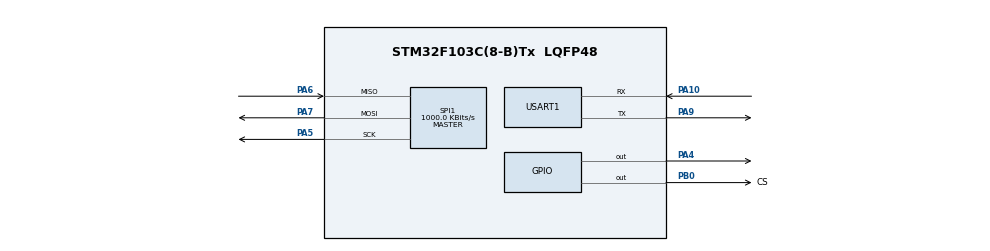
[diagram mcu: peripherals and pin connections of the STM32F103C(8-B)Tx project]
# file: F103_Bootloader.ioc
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Mcu.Family=STM32F1
Mcu.Name=STM32F103C(8-B)Tx
Mcu.Package=LQFP48
NVIC.PriorityGroup=NVIC_PRIORITYGROUP_4
PA10.Mode=Asynchronous
PA10.Signal=USART1_RX
PA13.Mode=Serial_Wire
PA13.Signal=SYS_JTMS-SWDIO
PA14.Mode=Serial_Wire
PA14.Signal=SYS_JTCK-SWCLK
PA4.Signal=GPIO_Output
PA5.Mode=Full_Duplex_Master
PA5.Signal=SPI1_SCK
PA6.Mode=Full_Duplex_Master
PA6.Signal=SPI1_MISO
PA7.Mode=Full_Duplex_Master
PA7.Signal=SPI1_MOSI
PA9.Mode=Asynchronous
PA9.Signal=USART1_TX
PB0.GPIO_Label=CS
PB0.GPIO_Speed=GPIO_SPEED_FREQ_HIGH
PB0.PinState=GPIO_PIN_SET
PB0.Signal=GPIO_Output
ProjectManager.HeapSize=0x200
ProjectManager.StackSize=0x400
ProjectManager.TargetToolchain=STM32CubeIDE
RCC.APB1Freq_Value=8000000
RCC.APB2Freq_Value=8000000
SPI1.BaudRatePrescaler=SPI_BAUDRATEPRESCALER_8
SPI1.CalculateBaudRate=1000.0 KBits/s
SPI1.Direction=SPI_DIRECTION_2LINES
SPI1.Mode=SPI_MODE_MASTER
SPI1.VirtualType=VM_MASTER
USART1.VirtualMode=VM_ASYNC
board=custom

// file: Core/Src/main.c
/* USER CODE BEGIN Header */
/**
  ******************************************************************************
  * @file           : main.c
  * @brief          : Main program body
  ******************************************************************************
  * @attention
  *
  * Copyright (c) 2026 STMicroelectronics.
  * All rights reserved.
  *
  * This software is licensed under terms that can be found in the LICENSE file
  * in the root directory of this software component.
  * If no LICENSE file comes with this software, it is provided AS-IS.
  *
  ******************************************************************************
  */
/* USER CODE END Header */
#include "main.h"

/* USER CODE BEGIN Includes */
#include "bl_jump.h"
#include "bl_ota.h"
#include "string.h"
#include "W25Qxx.h"
/* USER CODE END Includes */

SPI_HandleTypeDef hspi1;

UART_HandleTypeDef huart1;

void SystemClock_Config(void);
static void MX_GPIO_Init(void);
static void MX_USART1_UART_Init(void);
static void MX_SPI1_Init(void);

/* USER CODE BEGIN 0 */

static uint32_t mem_base = 0;  // used with external or dual flash
static uint32_t mem_cursor = 0;
static uint32_t ota_image_total_size = 16;  // expected OTA Header size

void ota_mem_set_total_size(uint32_t size)
{
    ota_image_total_size = size;
}

int ota_read_mem(uint8_t *buf, uint32_t len)
{
    if (mem_cursor + len > ota_image_total_size)
        return -1;

    W25Q_FastRead(mem_base + mem_cursor, buf, len);

    mem_cursor += len;
    return 0;
}

/* USER CODE END 0 */

int main(void)
{

  /* MCU Configuration--------------------------------------------------------*/

  /* Reset of all peripherals, Initializes the Flash interface and the Systick. */
  HAL_Init();

  /* Configure the system clock */
  SystemClock_Config();

  /* Initialize all configured peripherals */
  MX_GPIO_Init();
  MX_USART1_UART_Init();
  MX_SPI1_Init();
  /* USER CODE BEGIN 2 */

  HAL_Delay(100);

  W25Q_Reset();

  HAL_UART_Transmit(&huart1, (uint8_t *)"Inside Bootloader!!\r\n", 21, 100);

  if (check_ota_request() == 0)
  {
	  HAL_UART_Transmit(&huart1, (uint8_t *)"OTA Requested... Flashing..\r\n", 29, 100);

	  ota_stream_t stream =
	  {
	      .read = ota_read_mem,
	      .set_total_size = ota_mem_set_total_size
	  };

	  bl_ota_ctx_t ctx;
	 if (bl_ota_run(&ctx, &stream) != 0)
	 {
		 HAL_UART_Transmit(&huart1, (uint8_t *)"OTA Failed...\n", 14, 100);
		 while (1)
		 {

		 }
	 }

	 else
	 {
		 HAL_UART_Transmit(&huart1, (uint8_t *)"OTA Flashed Successfully, Jumping to app...\n", 44, 100);
	 }
  }

  int err = bootloader_is_app_valid();

  if (err != 0)
  {
	  HAL_UART_Transmit(&huart1, (uint8_t *)"Failed to Jump!! ", 17, 100);
	  switch (err){
	  case 1:
		  HAL_UART_Transmit(&huart1, (uint8_t *)"MAGIC ERROR!!\r\n", 15, 100);
		  break;

	  case 2:
		  HAL_UART_Transmit(&huart1, (uint8_t *)"RESET ERROR!!\r\n", 15, 100);
		  break;

	  case 3:
		  HAL_UART_Transmit(&huart1, (uint8_t *)"SIZE ERROR!!\r\n", 14, 100);
		  break;

	  case 4:
		  HAL_UART_Transmit(&huart1, (uint8_t *)"CRC ERROR!!\r\n", 13, 100);
		  break;

	  default:
		  HAL_UART_Transmit(&huart1, (uint8_t *)"ERROR!!\r\n", 9, 100);
		  break;
	  }
	  while (1)
	  {

	  }
  }

  JumpToApplication();

  /* USER CODE END 2 */

  /* Infinite loop */
  while (1)
  {

  }
}

void SystemClock_Config(void)
{
  RCC_OscInitTypeDef RCC_OscInitStruct = {0};
  RCC_ClkInitTypeDef RCC_ClkInitStruct = {0};

  /** Initializes the RCC Oscillators according to the specified parameters
  * in the RCC_OscInitTypeDef structure.
  */
  RCC_OscInitStruct.OscillatorType = RCC_OSCILLATORTYPE_HSI;
  RCC_OscInitStruct.HSIState = RCC_HSI_ON;
  RCC_OscInitStruct.HSICalibrationValue = RCC_HSICALIBRATION_DEFAULT;
  RCC_OscInitStruct.PLL.PLLState = RCC_PLL_NONE;
  if (HAL_RCC_OscConfig(&RCC_OscInitStruct) != HAL_OK)
  {
    Error_Handler();
  }

  /** Initializes the CPU, AHB and APB buses clocks
  */
  RCC_ClkInitStruct.ClockType = RCC_CLOCKTYPE_HCLK|RCC_CLOCKTYPE_SYSCLK
                              |RCC_CLOCKTYPE_PCLK1|RCC_CLOCKTYPE_PCLK2;
  RCC_ClkInitStruct.SYSCLKSource = RCC_SYSCLKSOURCE_HSI;
  RCC_ClkInitStruct.AHBCLKDivider = RCC_SYSCLK_DIV1;
  RCC_ClkInitStruct.APB1CLKDivider = RCC_HCLK_DIV1;
  RCC_ClkInitStruct.APB2CLKDivider = RCC_HCLK_DIV1;

  if (HAL_RCC_ClockConfig(&RCC_ClkInitStruct, FLASH_LATENCY_0) != HAL_OK)
  {
    Error_Handler();
  }
}

static void MX_SPI1_Init(void)
{

  /* SPI1 parameter configuration*/
  hspi1.Instance = SPI1;
  hspi1.Init.Mode = SPI_MODE_MASTER;
  hspi1.Init.Direction = SPI_DIRECTION_2LINES;
  hspi1.Init.DataSize = SPI_DATASIZE_8BIT;
  hspi1.Init.CLKPolarity = SPI_POLARITY_LOW;
  hspi1.Init.CLKPhase = SPI_PHASE_1EDGE;
  hspi1.Init.NSS = SPI_NSS_SOFT;
  hspi1.Init.BaudRatePrescaler = SPI_BAUDRATEPRESCALER_8;
  hspi1.Init.FirstBit = SPI_FIRSTBIT_MSB;
  hspi1.Init.TIMode = SPI_TIMODE_DISABLE;
  hspi1.Init.CRCCalculation = SPI_CRCCALCULATION_DISABLE;
  hspi1.Init.CRCPolynomial = 10;
  if (HAL_SPI_Init(&hspi1) != HAL_OK)
  {
    Error_Handler();
  }

}

static void MX_USART1_UART_Init(void)
{

  huart1.Instance = USART1;
  huart1.Init.BaudRate = 115200;
  huart1.Init.WordLength = UART_WORDLENGTH_8B;
  huart1.Init.StopBits = UART_STOPBITS_1;
  huart1.Init.Parity = UART_PARITY_NONE;
  huart1.Init.Mode = UART_MODE_TX_RX;
  huart1.Init.HwFlowCtl = UART_HWCONTROL_NONE;
  huart1.Init.OverSampling = UART_OVERSAMPLING_16;
  if (HAL_UART_Init(&huart1) != HAL_OK)
  {
    Error_Handler();
  }

}

static void MX_GPIO_Init(void)
{
  GPIO_InitTypeDef GPIO_InitStruct = {0};

  /* GPIO Ports Clock Enable */
  __HAL_RCC_GPIOA_CLK_ENABLE();
  __HAL_RCC_GPIOB_CLK_ENABLE();

  /*Configure GPIO pin Output Level */
  HAL_GPIO_WritePin(CS_GPIO_Port, CS_Pin, GPIO_PIN_SET);

  /*Configure GPIO pin : CS_Pin */
  GPIO_InitStruct.Pin = CS_Pin;
  GPIO_InitStruct.Mode = GPIO_MODE_OUTPUT_PP;
  GPIO_InitStruct.Pull = GPIO_NOPULL;
  GPIO_InitStruct.Speed = GPIO_SPEED_FREQ_HIGH;
  HAL_GPIO_Init(CS_GPIO_Port, &GPIO_InitStruct);

}

void Error_Handler(void)
{
  __disable_irq();
  while (1)
  {
  }
}
